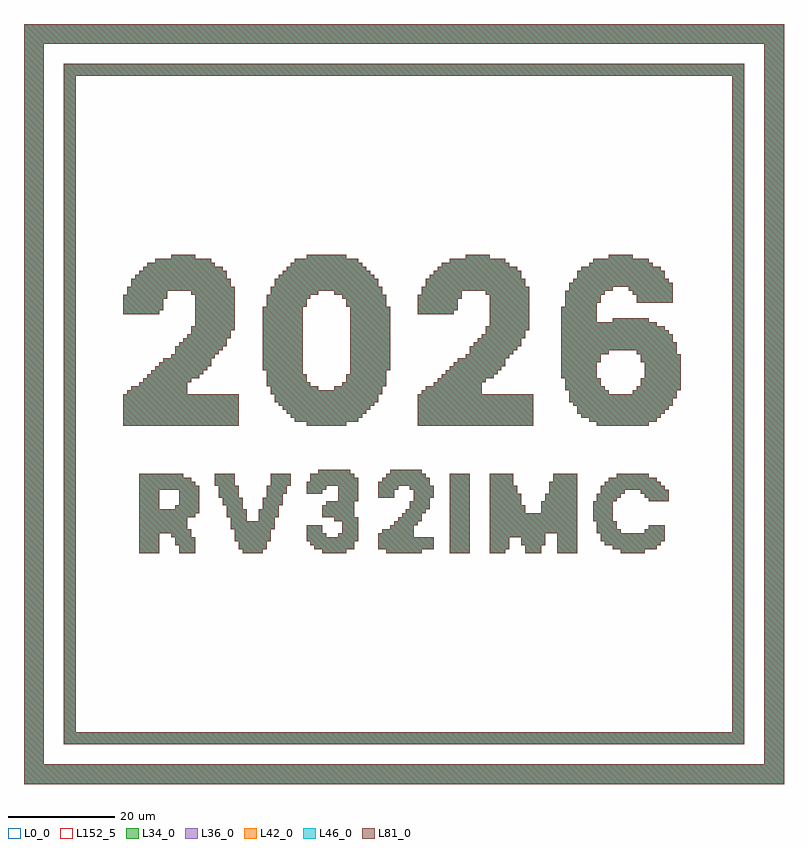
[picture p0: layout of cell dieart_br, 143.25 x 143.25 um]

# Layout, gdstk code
import gdstk
lib = gdstk.Library(unit=1e-6, precision=1e-09)
def R(c, l, rs):  # rectangles x0, y0, x1, y1
    for r in rs: c.add(gdstk.rectangle(r[:2], r[2:], *l))
def A(c, l, x, y, w, h, nx, ny, dx, dy):  # array of equal rectangles
    R(c, l, [(x+i*dx, y+j*dy, x+i*dx+w, y+j*dy+h) for i in range(nx) for j in range(ny)])
L0_0 = (0, 0)
L34_0 = (34, 0)
L36_0 = (36, 0)
L42_0 = (42, 0)
L46_0 = (46, 0)
L81_0 = (81, 0)
L152_5 = (152, 5)

dieart_br = lib.new_cell('dieart_br')
R(dieart_br, L0_0, [(0,0,143.25,143.25)])
A(dieart_br, L34_0, 45.75, 91.5, 8.25, 0.75, 3, 1, 14.25, 0)
R(dieart_br, L34_0, [(0,0,143.25,3.75), (0,3.75,3.75,139.5), (139.5,3.75,143.25,139.5), (7.5,7.5,135.75,9.75), (7.5,9.75,9.75,133.5), (133.5,9.75,135.75,133.5), (21.75,43.5,25.5,47.25), (29.25,43.5,32.25,45), (41.25,43.5,45,44.25), (56.25,43.5,60.75,44.25), (68.25,43.5,75,44.25), (80.25,43.5,84,58.5), (87.75,43.5,90.75,44.25), (94.5,43.5,97.5,45), (100.5,43.5,104.25,47.25), (112.5,43.5,117,44.25), (40.5,44.25,45.75,45.75), (54.75,44.25,62.25,45), (66.75,44.25,77.25,46.5), (87.75,44.25,91.5,46.5), (111,44.25,119.25,45), (28.5,45,32.25,46.5), (54,45,62.25,45.75), (93.75,45,98.25,46.5), (109.5,45,120,45.75), (39.75,45.75,46.5,48), (53.25,45.75,63,46.5), (108.75,45.75,120.75,47.25), (27.75,46.5,31.5,47.25), (53.25,46.5,57,47.25), (59.25,46.5,63,47.25), (66.75,46.5,73.5,47.25), (87.75,46.5,98.25,47.25), (21.75,47.25,31.5,48), (53.25,47.25,56.25,48.75), (60,47.25,63,49.5), (67.5,47.25,73.5,48), (87.75,47.25,104.25,51), (108,47.25,112.5,48), (117,47.25,120.75,48), (21.75,48,30.75,50.25), (39,48,47.25,49.5), (69,48,73.5,48.75), (108,48,111.75,49.5), (117.75,48,120.75,48.75), (69.75,48.75,74.25,49.5), (39,49.5,42,50.25), (44.25,49.5,47.25,50.25), (58.5,49.5,63,50.25), (70.5,49.5,75,50.25), (107.25,49.5,111,53.25), (21.75,50.25,32.25,51), (38.25,50.25,42,51.75), (44.25,50.25,48,51.75), (56.25,50.25,62.25,52.5), (71.25,50.25,75,51), (21.75,51,33,51.75), (72,51,75.75,51.75), (87.75,51,94.5,52.5), (97.5,51,104.25,53.25), (21.75,51.75,25.5,55.5), (28.5,51.75,33,52.5), (38.25,51.75,41.25,52.5), (45,51.75,48,52.5), (72.75,51.75,76.5,53.25), (29.25,52.5,33,55.5), (37.5,52.5,41.25,54), (45,52.5,48.75,54), (57,52.5,62.25,53.25), (87.75,52.5,93.75,54.75), (59.25,53.25,63,56.25), (73.5,53.25,76.5,54), (98.25,53.25,104.25,54.75), (108,53.25,111.75,54), (117.75,53.25,121.5,54), (36.75,54,40.5,56.25), (45.75,54,48.75,54.75), (66.75,54,69.75,55.5), (73.5,54,77.25,55.5), (108,54,112.5,54.75), (117,54,121.5,54.75), (45.75,54.75,49.5,56.25), (53.25,54.75,56.25,55.5), (87.75,54.75,93,56.25), (99,54.75,104.25,57), (108.75,54.75,113.25,55.5), (116.25,54.75,121.5,55.5), (21.75,55.5,33,56.25), (53.25,55.5,57,56.25), (66.75,55.5,70.5,56.25), (72.75,55.5,77.25,56.25), (108.75,55.5,120.75,56.25), (21.75,56.25,32.25,57), (36,56.25,39.75,58.5), (46.5,56.25,50.25,58.5), (53.25,56.25,63,57), (66.75,56.25,76.5,57), (87.75,56.25,92.25,58.5), (109.5,56.25,120,57), (21.75,57,31.5,57.75), (54,57,63,57.75), (67.5,57,76.5,57.75), (99.75,57,104.25,58.5), (110.25,57,119.25,57.75), (21.75,57.75,30,58.5), (54,57.75,62.25,58.5), (68.25,57.75,75.75,58.5), (111.75,57.75,117.75,58.5), (55.5,58.5,61.5,59.25), (69,58.5,75,59.25), (18.75,67.5,40.5,73.5), (53.25,67.5,60.75,68.25), (74.25,67.5,96,73.5), (108,67.5,117.75,68.25), (51,68.25,63,69), (106.5,68.25,119.25,69), (50.25,69,63.75,69.75), (105,69,120,69.75), (49.5,69.75,64.5,70.5), (104.25,69.75,120.75,70.5), (48.75,70.5,65.25,71.25), (104.25,70.5,121.5,71.25), (48,71.25,66,72), (103.5,71.25,122.25,72), (47.25,72,66.75,73.5), (102.75,72,122.25,72.75), (102.75,72.75,123,73.5), (19.5,73.5,30.75,74.25), (46.5,73.5,67.5,74.25), (75,73.5,86.25,74.25), (102.75,73.5,110.25,74.25), (114.75,73.5,123,74.25), (20.25,74.25,30.75,75), (46.5,74.25,55.5,75), (58.5,74.25,67.5,75), (75.75,74.25,86.25,75), (102,74.25,109.5,75), (115.5,74.25,123.75,75), (21.75,75,30.75,75.75), (45.75,75,54,75.75), (60,75,68.25,75.75), (77.25,75,86.25,75.75), (102,75,108.75,76.5), (116.25,75,123.75,76.5), (22.5,75.75,31.5,76.5), (45.75,75.75,53.25,77.25), (60.75,75.75,68.25,77.25), (78,75.75,87,76.5), (23.25,76.5,33,77.25), (78.75,76.5,88.5,77.25), (101.25,76.5,108,79.5), (117,76.5,123.75,79.5), (24,77.25,33.75,78), (45.75,77.25,52.5,78), (61.5,77.25,68.25,78), (79.5,77.25,89.25,78), (24.75,78,34.5,78.75), (45,78,52.5,90), (61.5,78,69,90), (80.25,78,90,78.75), (25.5,78.75,35.25,79.5), (81,78.75,90.75,79.5), (26.25,79.5,35.25,80.25), (81.75,79.5,90.75,80.25), (101.25,79.5,108.75,81), (116.25,79.5,123.75,81), (27.75,80.25,36,81), (83.25,80.25,91.5,81), (28.5,81,36.75,81.75), (84,81,92.25,81.75), (101.25,81,110.25,81.75), (115.5,81,123,81.75), (28.5,81.75,37.5,82.5), (84,81.75,93,82.5), (101.25,81.75,123,83.25), (29.25,82.5,38.25,83.25), (84.75,82.5,93.75,83.25), (30,83.25,38.25,84), (85.5,83.25,93.75,84), (101.25,83.25,122.25,84.75), (30.75,84,39,84.75), (86.25,84,94.5,84.75), (31.5,84.75,39,85.5), (87,84.75,94.5,85.5), (101.25,84.75,121.5,85.5), (31.5,85.5,39.75,86.25), (87,85.5,95.25,86.25), (101.25,85.5,120.75,86.25), (32.25,86.25,39.75,92.25), (87.75,86.25,95.25,92.25), (101.25,86.25,119.25,87), (101.25,87,108,90), (111,87,117.75,87.75), (18.75,88.5,25.5,89.25), (74.25,88.5,81,89.25), (18.75,89.25,26.25,91.5), (74.25,89.25,81.75,91.5), (45.75,90,53.25,91.5), (60.75,90,68.25,91.5), (102,90,108,90.75), (102,90.75,108.75,92.25), (115.5,90.75,122.25,92.25), (18.75,91.5,27,92.25), (19.5,92.25,27,93), (31.5,92.25,39.75,93), (46.5,92.25,55.5,93), (58.5,92.25,67.5,93), (75,92.25,82.5,93), (87,92.25,95.25,93), (102,92.25,109.5,93), (114.75,92.25,122.25,93), (19.5,93,39.75,93.75), (46.5,93,67.5,93.75), (75,93,95.25,93.75), (102.75,93,111,93.75), (114,93,122.25,93.75), (20.25,93.75,39,95.25), (47.25,93.75,66.75,95.25), (75.75,93.75,94.5,95.25), (102.75,93.75,122.25,94.5), (103.5,94.5,121.5,95.25), (21,95.25,38.25,96), (48,95.25,66,96), (76.5,95.25,93.75,96), (104.25,95.25,120.75,96.75), (21.75,96,38.25,96.75), (48.75,96,65.25,96.75), (77.25,96,93.75,96.75), (22.5,96.75,37.5,97.5), (49.5,96.75,64.5,97.5), (78,96.75,93,97.5), (105,96.75,120,97.5), (23.25,97.5,36,98.25), (50.25,97.5,63.75,98.25), (78.75,97.5,91.5,98.25), (106.5,97.5,118.5,98.25), (24.75,98.25,35.25,99), (51,98.25,63,99), (80.25,98.25,90.75,99), (107.25,98.25,117.75,99), (27.75,99,32.25,99.75), (53.25,99,60.75,99.75), (83.25,99,87.75,99.75), (110.25,99,114.75,99.75), (7.5,133.5,135.75,135.75), (0,139.5,143.25,143.25)])
A(dieart_br, L36_0, 45.75, 91.5, 8.25, 0.75, 3, 1, 14.25, 0)
R(dieart_br, L36_0, [(0,0,143.25,3.75), (0,3.75,3.75,139.5), (139.5,3.75,143.25,139.5), (7.5,7.5,135.75,9.75), (7.5,9.75,9.75,133.5), (133.5,9.75,135.75,133.5), (21.75,43.5,25.5,47.25), (29.25,43.5,32.25,45), (41.25,43.5,45,44.25), (56.25,43.5,60.75,44.25), (68.25,43.5,75,44.25), (80.25,43.5,84,58.5), (87.75,43.5,90.75,44.25), (94.5,43.5,97.5,45), (100.5,43.5,104.25,47.25), (112.5,43.5,117,44.25), (40.5,44.25,45.75,45.75), (54.75,44.25,62.25,45), (66.75,44.25,77.25,46.5), (87.75,44.25,91.5,46.5), (111,44.25,119.25,45), (28.5,45,32.25,46.5), (54,45,62.25,45.75), (93.75,45,98.25,46.5), (109.5,45,120,45.75), (39.75,45.75,46.5,48), (53.25,45.75,63,46.5), (108.75,45.75,120.75,47.25), (27.75,46.5,31.5,47.25), (53.25,46.5,57,47.25), (59.25,46.5,63,47.25), (66.75,46.5,73.5,47.25), (87.75,46.5,98.25,47.25), (21.75,47.25,31.5,48), (53.25,47.25,56.25,48.75), (60,47.25,63,49.5), (67.5,47.25,73.5,48), (87.75,47.25,104.25,51), (108,47.25,112.5,48), (117,47.25,120.75,48), (21.75,48,30.75,50.25), (39,48,47.25,49.5), (69,48,73.5,48.75), (108,48,111.75,49.5), (117.75,48,120.75,48.75), (69.75,48.75,74.25,49.5), (39,49.5,42,50.25), (44.25,49.5,47.25,50.25), (58.5,49.5,63,50.25), (70.5,49.5,75,50.25), (107.25,49.5,111,53.25), (21.75,50.25,32.25,51), (38.25,50.25,42,51.75), (44.25,50.25,48,51.75), (56.25,50.25,62.25,52.5), (71.25,50.25,75,51), (21.75,51,33,51.75), (72,51,75.75,51.75), (87.75,51,94.5,52.5), (97.5,51,104.25,53.25), (21.75,51.75,25.5,55.5), (28.5,51.75,33,52.5), (38.25,51.75,41.25,52.5), (45,51.75,48,52.5), (72.75,51.75,76.5,53.25), (29.25,52.5,33,55.5), (37.5,52.5,41.25,54), (45,52.5,48.75,54), (57,52.5,62.25,53.25), (87.75,52.5,93.75,54.75), (59.25,53.25,63,56.25), (73.5,53.25,76.5,54), (98.25,53.25,104.25,54.75), (108,53.25,111.75,54), (117.75,53.25,121.5,54), (36.75,54,40.5,56.25), (45.75,54,48.75,54.75), (66.75,54,69.75,55.5), (73.5,54,77.25,55.5), (108,54,112.5,54.75), (117,54,121.5,54.75), (45.75,54.75,49.5,56.25), (53.25,54.75,56.25,55.5), (87.75,54.75,93,56.25), (99,54.75,104.25,57), (108.75,54.75,113.25,55.5), (116.25,54.75,121.5,55.5), (21.75,55.5,33,56.25), (53.25,55.5,57,56.25), (66.75,55.5,70.5,56.25), (72.75,55.5,77.25,56.25), (108.75,55.5,120.75,56.25), (21.75,56.25,32.25,57), (36,56.25,39.75,58.5), (46.5,56.25,50.25,58.5), (53.25,56.25,63,57), (66.75,56.25,76.5,57), (87.75,56.25,92.25,58.5), (109.5,56.25,120,57), (21.75,57,31.5,57.75), (54,57,63,57.75), (67.5,57,76.5,57.75), (99.75,57,104.25,58.5), (110.25,57,119.25,57.75), (21.75,57.75,30,58.5), (54,57.75,62.25,58.5), (68.25,57.75,75.75,58.5), (111.75,57.75,117.75,58.5), (55.5,58.5,61.5,59.25), (69,58.5,75,59.25), (18.75,67.5,40.5,73.5), (53.25,67.5,60.75,68.25), (74.25,67.5,96,73.5), (108,67.5,117.75,68.25), (51,68.25,63,69), (106.5,68.25,119.25,69), (50.25,69,63.75,69.75), (105,69,120,69.75), (49.5,69.75,64.5,70.5), (104.25,69.75,120.75,70.5), (48.75,70.5,65.25,71.25), (104.25,70.5,121.5,71.25), (48,71.25,66,72), (103.5,71.25,122.25,72), (47.25,72,66.75,73.5), (102.75,72,122.25,72.75), (102.75,72.75,123,73.5), (19.5,73.5,30.75,74.25), (46.5,73.5,67.5,74.25), (75,73.5,86.25,74.25), (102.75,73.5,110.25,74.25), (114.75,73.5,123,74.25), (20.25,74.25,30.75,75), (46.5,74.25,55.5,75), (58.5,74.25,67.5,75), (75.75,74.25,86.25,75), (102,74.25,109.5,75), (115.5,74.25,123.75,75), (21.75,75,30.75,75.75), (45.75,75,54,75.75), (60,75,68.25,75.75), (77.25,75,86.25,75.75), (102,75,108.75,76.5), (116.25,75,123.75,76.5), (22.5,75.75,31.5,76.5), (45.75,75.75,53.25,77.25), (60.75,75.75,68.25,77.25), (78,75.75,87,76.5), (23.25,76.5,33,77.25), (78.75,76.5,88.5,77.25), (101.25,76.5,108,79.5), (117,76.5,123.75,79.5), (24,77.25,33.75,78), (45.75,77.25,52.5,78), (61.5,77.25,68.25,78), (79.5,77.25,89.25,78), (24.75,78,34.5,78.75), (45,78,52.5,90), (61.5,78,69,90), (80.25,78,90,78.75), (25.5,78.75,35.25,79.5), (81,78.75,90.75,79.5), (26.25,79.5,35.25,80.25), (81.75,79.5,90.75,80.25), (101.25,79.5,108.75,81), (116.25,79.5,123.75,81), (27.75,80.25,36,81), (83.25,80.25,91.5,81), (28.5,81,36.75,81.75), (84,81,92.25,81.75), (101.25,81,110.25,81.75), (115.5,81,123,81.75), (28.5,81.75,37.5,82.5), (84,81.75,93,82.5), (101.25,81.75,123,83.25), (29.25,82.5,38.25,83.25), (84.75,82.5,93.75,83.25), (30,83.25,38.25,84), (85.5,83.25,93.75,84), (101.25,83.25,122.25,84.75), (30.75,84,39,84.75), (86.25,84,94.5,84.75), (31.5,84.75,39,85.5), (87,84.75,94.5,85.5), (101.25,84.75,121.5,85.5), (31.5,85.5,39.75,86.25), (87,85.5,95.25,86.25), (101.25,85.5,120.75,86.25), (32.25,86.25,39.75,92.25), (87.75,86.25,95.25,92.25), (101.25,86.25,119.25,87), (101.25,87,108,90), (111,87,117.75,87.75), (18.75,88.5,25.5,89.25), (74.25,88.5,81,89.25), (18.75,89.25,26.25,91.5), (74.25,89.25,81.75,91.5), (45.75,90,53.25,91.5), (60.75,90,68.25,91.5), (102,90,108,90.75), (102,90.75,108.75,92.25), (115.5,90.75,122.25,92.25), (18.75,91.5,27,92.25), (19.5,92.25,27,93), (31.5,92.25,39.75,93), (46.5,92.25,55.5,93), (58.5,92.25,67.5,93), (75,92.25,82.5,93), (87,92.25,95.25,93), (102,92.25,109.5,93), (114.75,92.25,122.25,93), (19.5,93,39.75,93.75), (46.5,93,67.5,93.75), (75,93,95.25,93.75), (102.75,93,111,93.75), (114,93,122.25,93.75), (20.25,93.75,39,95.25), (47.25,93.75,66.75,95.25), (75.75,93.75,94.5,95.25), (102.75,93.75,122.25,94.5), (103.5,94.5,121.5,95.25), (21,95.25,38.25,96), (48,95.25,66,96), (76.5,95.25,93.75,96), (104.25,95.25,120.75,96.75), (21.75,96,38.25,96.75), (48.75,96,65.25,96.75), (77.25,96,93.75,96.75), (22.5,96.75,37.5,97.5), (49.5,96.75,64.5,97.5), (78,96.75,93,97.5), (105,96.75,120,97.5), (23.25,97.5,36,98.25), (50.25,97.5,63.75,98.25), (78.75,97.5,91.5,98.25), (106.5,97.5,118.5,98.25), (24.75,98.25,35.25,99), (51,98.25,63,99), (80.25,98.25,90.75,99), (107.25,98.25,117.75,99), (27.75,99,32.25,99.75), (53.25,99,60.75,99.75), (83.25,99,87.75,99.75), (110.25,99,114.75,99.75), (7.5,133.5,135.75,135.75), (0,139.5,143.25,143.25)])
A(dieart_br, L42_0, 45.75, 91.5, 8.25, 0.75, 3, 1, 14.25, 0)
R(dieart_br, L42_0, [(0,0,143.25,3.75), (0,3.75,3.75,139.5), (139.5,3.75,143.25,139.5), (7.5,7.5,135.75,9.75), (7.5,9.75,9.75,133.5), (133.5,9.75,135.75,133.5), (21.75,43.5,25.5,47.25), (29.25,43.5,32.25,45), (41.25,43.5,45,44.25), (56.25,43.5,60.75,44.25), (68.25,43.5,75,44.25), (80.25,43.5,84,58.5), (87.75,43.5,90.75,44.25), (94.5,43.5,97.5,45), (100.5,43.5,104.25,47.25), (112.5,43.5,117,44.25), (40.5,44.25,45.75,45.75), (54.75,44.25,62.25,45), (66.75,44.25,77.25,46.5), (87.75,44.25,91.5,46.5), (111,44.25,119.25,45), (28.5,45,32.25,46.5), (54,45,62.25,45.75), (93.75,45,98.25,46.5), (109.5,45,120,45.75), (39.75,45.75,46.5,48), (53.25,45.75,63,46.5), (108.75,45.75,120.75,47.25), (27.75,46.5,31.5,47.25), (53.25,46.5,57,47.25), (59.25,46.5,63,47.25), (66.75,46.5,73.5,47.25), (87.75,46.5,98.25,47.25), (21.75,47.25,31.5,48), (53.25,47.25,56.25,48.75), (60,47.25,63,49.5), (67.5,47.25,73.5,48), (87.75,47.25,104.25,51), (108,47.25,112.5,48), (117,47.25,120.75,48), (21.75,48,30.75,50.25), (39,48,47.25,49.5), (69,48,73.5,48.75), (108,48,111.75,49.5), (117.75,48,120.75,48.75), (69.75,48.75,74.25,49.5), (39,49.5,42,50.25), (44.25,49.5,47.25,50.25), (58.5,49.5,63,50.25), (70.5,49.5,75,50.25), (107.25,49.5,111,53.25), (21.75,50.25,32.25,51), (38.25,50.25,42,51.75), (44.25,50.25,48,51.75), (56.25,50.25,62.25,52.5), (71.25,50.25,75,51), (21.75,51,33,51.75), (72,51,75.75,51.75), (87.75,51,94.5,52.5), (97.5,51,104.25,53.25), (21.75,51.75,25.5,55.5), (28.5,51.75,33,52.5), (38.25,51.75,41.25,52.5), (45,51.75,48,52.5), (72.75,51.75,76.5,53.25), (29.25,52.5,33,55.5), (37.5,52.5,41.25,54), (45,52.5,48.75,54), (57,52.5,62.25,53.25), (87.75,52.5,93.75,54.75), (59.25,53.25,63,56.25), (73.5,53.25,76.5,54), (98.25,53.25,104.25,54.75), (108,53.25,111.75,54), (117.75,53.25,121.5,54), (36.75,54,40.5,56.25), (45.75,54,48.75,54.75), (66.75,54,69.75,55.5), (73.5,54,77.25,55.5), (108,54,112.5,54.75), (117,54,121.5,54.75), (45.75,54.75,49.5,56.25), (53.25,54.75,56.25,55.5), (87.75,54.75,93,56.25), (99,54.75,104.25,57), (108.75,54.75,113.25,55.5), (116.25,54.75,121.5,55.5), (21.75,55.5,33,56.25), (53.25,55.5,57,56.25), (66.75,55.5,70.5,56.25), (72.75,55.5,77.25,56.25), (108.75,55.5,120.75,56.25), (21.75,56.25,32.25,57), (36,56.25,39.75,58.5), (46.5,56.25,50.25,58.5), (53.25,56.25,63,57), (66.75,56.25,76.5,57), (87.75,56.25,92.25,58.5), (109.5,56.25,120,57), (21.75,57,31.5,57.75), (54,57,63,57.75), (67.5,57,76.5,57.75), (99.75,57,104.25,58.5), (110.25,57,119.25,57.75), (21.75,57.75,30,58.5), (54,57.75,62.25,58.5), (68.25,57.75,75.75,58.5), (111.75,57.75,117.75,58.5), (55.5,58.5,61.5,59.25), (69,58.5,75,59.25), (18.75,67.5,40.5,73.5), (53.25,67.5,60.75,68.25), (74.25,67.5,96,73.5), (108,67.5,117.75,68.25), (51,68.25,63,69), (106.5,68.25,119.25,69), (50.25,69,63.75,69.75), (105,69,120,69.75), (49.5,69.75,64.5,70.5), (104.25,69.75,120.75,70.5), (48.75,70.5,65.25,71.25), (104.25,70.5,121.5,71.25), (48,71.25,66,72), (103.5,71.25,122.25,72), (47.25,72,66.75,73.5), (102.75,72,122.25,72.75), (102.75,72.75,123,73.5), (19.5,73.5,30.75,74.25), (46.5,73.5,67.5,74.25), (75,73.5,86.25,74.25), (102.75,73.5,110.25,74.25), (114.75,73.5,123,74.25), (20.25,74.25,30.75,75), (46.5,74.25,55.5,75), (58.5,74.25,67.5,75), (75.75,74.25,86.25,75), (102,74.25,109.5,75), (115.5,74.25,123.75,75), (21.75,75,30.75,75.75), (45.75,75,54,75.75), (60,75,68.25,75.75), (77.25,75,86.25,75.75), (102,75,108.75,76.5), (116.25,75,123.75,76.5), (22.5,75.75,31.5,76.5), (45.75,75.75,53.25,77.25), (60.75,75.75,68.25,77.25), (78,75.75,87,76.5), (23.25,76.5,33,77.25), (78.75,76.5,88.5,77.25), (101.25,76.5,108,79.5), (117,76.5,123.75,79.5), (24,77.25,33.75,78), (45.75,77.25,52.5,78), (61.5,77.25,68.25,78), (79.5,77.25,89.25,78), (24.75,78,34.5,78.75), (45,78,52.5,90), (61.5,78,69,90), (80.25,78,90,78.75), (25.5,78.75,35.25,79.5), (81,78.75,90.75,79.5), (26.25,79.5,35.25,80.25), (81.75,79.5,90.75,80.25), (101.25,79.5,108.75,81), (116.25,79.5,123.75,81), (27.75,80.25,36,81), (83.25,80.25,91.5,81), (28.5,81,36.75,81.75), (84,81,92.25,81.75), (101.25,81,110.25,81.75), (115.5,81,123,81.75), (28.5,81.75,37.5,82.5), (84,81.75,93,82.5), (101.25,81.75,123,83.25), (29.25,82.5,38.25,83.25), (84.75,82.5,93.75,83.25), (30,83.25,38.25,84), (85.5,83.25,93.75,84), (101.25,83.25,122.25,84.75), (30.75,84,39,84.75), (86.25,84,94.5,84.75), (31.5,84.75,39,85.5), (87,84.75,94.5,85.5), (101.25,84.75,121.5,85.5), (31.5,85.5,39.75,86.25), (87,85.5,95.25,86.25), (101.25,85.5,120.75,86.25), (32.25,86.25,39.75,92.25), (87.75,86.25,95.25,92.25), (101.25,86.25,119.25,87), (101.25,87,108,90), (111,87,117.75,87.75), (18.75,88.5,25.5,89.25), (74.25,88.5,81,89.25), (18.75,89.25,26.25,91.5), (74.25,89.25,81.75,91.5), (45.75,90,53.25,91.5), (60.75,90,68.25,91.5), (102,90,108,90.75), (102,90.75,108.75,92.25), (115.5,90.75,122.25,92.25), (18.75,91.5,27,92.25), (19.5,92.25,27,93), (31.5,92.25,39.75,93), (46.5,92.25,55.5,93), (58.5,92.25,67.5,93), (75,92.25,82.5,93), (87,92.25,95.25,93), (102,92.25,109.5,93), (114.75,92.25,122.25,93), (19.5,93,39.75,93.75), (46.5,93,67.5,93.75), (75,93,95.25,93.75), (102.75,93,111,93.75), (114,93,122.25,93.75), (20.25,93.75,39,95.25), (47.25,93.75,66.75,95.25), (75.75,93.75,94.5,95.25), (102.75,93.75,122.25,94.5), (103.5,94.5,121.5,95.25), (21,95.25,38.25,96), (48,95.25,66,96), (76.5,95.25,93.75,96), (104.25,95.25,120.75,96.75), (21.75,96,38.25,96.75), (48.75,96,65.25,96.75), (77.25,96,93.75,96.75), (22.5,96.75,37.5,97.5), (49.5,96.75,64.5,97.5), (78,96.75,93,97.5), (105,96.75,120,97.5), (23.25,97.5,36,98.25), (50.25,97.5,63.75,98.25), (78.75,97.5,91.5,98.25), (106.5,97.5,118.5,98.25), (24.75,98.25,35.25,99), (51,98.25,63,99), (80.25,98.25,90.75,99), (107.25,98.25,117.75,99), (27.75,99,32.25,99.75), (53.25,99,60.75,99.75), (83.25,99,87.75,99.75), (110.25,99,114.75,99.75), (7.5,133.5,135.75,135.75), (0,139.5,143.25,143.25)])
A(dieart_br, L46_0, 45.75, 91.5, 8.25, 0.75, 3, 1, 14.25, 0)
R(dieart_br, L46_0, [(0,0,143.25,3.75), (0,3.75,3.75,139.5), (139.5,3.75,143.25,139.5), (7.5,7.5,135.75,9.75), (7.5,9.75,9.75,133.5), (133.5,9.75,135.75,133.5), (21.75,43.5,25.5,47.25), (29.25,43.5,32.25,45), (41.25,43.5,45,44.25), (56.25,43.5,60.75,44.25), (68.25,43.5,75,44.25), (80.25,43.5,84,58.5), (87.75,43.5,90.75,44.25), (94.5,43.5,97.5,45), (100.5,43.5,104.25,47.25), (112.5,43.5,117,44.25), (40.5,44.25,45.75,45.75), (54.75,44.25,62.25,45), (66.75,44.25,77.25,46.5), (87.75,44.25,91.5,46.5), (111,44.25,119.25,45), (28.5,45,32.25,46.5), (54,45,62.25,45.75), (93.75,45,98.25,46.5), (109.5,45,120,45.75), (39.75,45.75,46.5,48), (53.25,45.75,63,46.5), (108.75,45.75,120.75,47.25), (27.75,46.5,31.5,47.25), (53.25,46.5,57,47.25), (59.25,46.5,63,47.25), (66.75,46.5,73.5,47.25), (87.75,46.5,98.25,47.25), (21.75,47.25,31.5,48), (53.25,47.25,56.25,48.75), (60,47.25,63,49.5), (67.5,47.25,73.5,48), (87.75,47.25,104.25,51), (108,47.25,112.5,48), (117,47.25,120.75,48), (21.75,48,30.75,50.25), (39,48,47.25,49.5), (69,48,73.5,48.75), (108,48,111.75,49.5), (117.75,48,120.75,48.75), (69.75,48.75,74.25,49.5), (39,49.5,42,50.25), (44.25,49.5,47.25,50.25), (58.5,49.5,63,50.25), (70.5,49.5,75,50.25), (107.25,49.5,111,53.25), (21.75,50.25,32.25,51), (38.25,50.25,42,51.75), (44.25,50.25,48,51.75), (56.25,50.25,62.25,52.5), (71.25,50.25,75,51), (21.75,51,33,51.75), (72,51,75.75,51.75), (87.75,51,94.5,52.5), (97.5,51,104.25,53.25), (21.75,51.75,25.5,55.5), (28.5,51.75,33,52.5), (38.25,51.75,41.25,52.5), (45,51.75,48,52.5), (72.75,51.75,76.5,53.25), (29.25,52.5,33,55.5), (37.5,52.5,41.25,54), (45,52.5,48.75,54), (57,52.5,62.25,53.25), (87.75,52.5,93.75,54.75), (59.25,53.25,63,56.25), (73.5,53.25,76.5,54), (98.25,53.25,104.25,54.75), (108,53.25,111.75,54), (117.75,53.25,121.5,54), (36.75,54,40.5,56.25), (45.75,54,48.75,54.75), (66.75,54,69.75,55.5), (73.5,54,77.25,55.5), (108,54,112.5,54.75), (117,54,121.5,54.75), (45.75,54.75,49.5,56.25), (53.25,54.75,56.25,55.5), (87.75,54.75,93,56.25), (99,54.75,104.25,57), (108.75,54.75,113.25,55.5), (116.25,54.75,121.5,55.5), (21.75,55.5,33,56.25), (53.25,55.5,57,56.25), (66.75,55.5,70.5,56.25), (72.75,55.5,77.25,56.25), (108.75,55.5,120.75,56.25), (21.75,56.25,32.25,57), (36,56.25,39.75,58.5), (46.5,56.25,50.25,58.5), (53.25,56.25,63,57), (66.75,56.25,76.5,57), (87.75,56.25,92.25,58.5), (109.5,56.25,120,57), (21.75,57,31.5,57.75), (54,57,63,57.75), (67.5,57,76.5,57.75), (99.75,57,104.25,58.5), (110.25,57,119.25,57.75), (21.75,57.75,30,58.5), (54,57.75,62.25,58.5), (68.25,57.75,75.75,58.5), (111.75,57.75,117.75,58.5), (55.5,58.5,61.5,59.25), (69,58.5,75,59.25), (18.75,67.5,40.5,73.5), (53.25,67.5,60.75,68.25), (74.25,67.5,96,73.5), (108,67.5,117.75,68.25), (51,68.25,63,69), (106.5,68.25,119.25,69), (50.25,69,63.75,69.75), (105,69,120,69.75), (49.5,69.75,64.5,70.5), (104.25,69.75,120.75,70.5), (48.75,70.5,65.25,71.25), (104.25,70.5,121.5,71.25), (48,71.25,66,72), (103.5,71.25,122.25,72), (47.25,72,66.75,73.5), (102.75,72,122.25,72.75), (102.75,72.75,123,73.5), (19.5,73.5,30.75,74.25), (46.5,73.5,67.5,74.25), (75,73.5,86.25,74.25), (102.75,73.5,110.25,74.25), (114.75,73.5,123,74.25), (20.25,74.25,30.75,75), (46.5,74.25,55.5,75), (58.5,74.25,67.5,75), (75.75,74.25,86.25,75), (102,74.25,109.5,75), (115.5,74.25,123.75,75), (21.75,75,30.75,75.75), (45.75,75,54,75.75), (60,75,68.25,75.75), (77.25,75,86.25,75.75), (102,75,108.75,76.5), (116.25,75,123.75,76.5), (22.5,75.75,31.5,76.5), (45.75,75.75,53.25,77.25), (60.75,75.75,68.25,77.25), (78,75.75,87,76.5), (23.25,76.5,33,77.25), (78.75,76.5,88.5,77.25), (101.25,76.5,108,79.5), (117,76.5,123.75,79.5), (24,77.25,33.75,78), (45.75,77.25,52.5,78), (61.5,77.25,68.25,78), (79.5,77.25,89.25,78), (24.75,78,34.5,78.75), (45,78,52.5,90), (61.5,78,69,90), (80.25,78,90,78.75), (25.5,78.75,35.25,79.5), (81,78.75,90.75,79.5), (26.25,79.5,35.25,80.25), (81.75,79.5,90.75,80.25), (101.25,79.5,108.75,81), (116.25,79.5,123.75,81), (27.75,80.25,36,81), (83.25,80.25,91.5,81), (28.5,81,36.75,81.75), (84,81,92.25,81.75), (101.25,81,110.25,81.75), (115.5,81,123,81.75), (28.5,81.75,37.5,82.5), (84,81.75,93,82.5), (101.25,81.75,123,83.25), (29.25,82.5,38.25,83.25), (84.75,82.5,93.75,83.25), (30,83.25,38.25,84), (85.5,83.25,93.75,84), (101.25,83.25,122.25,84.75), (30.75,84,39,84.75), (86.25,84,94.5,84.75), (31.5,84.75,39,85.5), (87,84.75,94.5,85.5), (101.25,84.75,121.5,85.5), (31.5,85.5,39.75,86.25), (87,85.5,95.25,86.25), (101.25,85.5,120.75,86.25), (32.25,86.25,39.75,92.25), (87.75,86.25,95.25,92.25), (101.25,86.25,119.25,87), (101.25,87,108,90), (111,87,117.75,87.75), (18.75,88.5,25.5,89.25), (74.25,88.5,81,89.25), (18.75,89.25,26.25,91.5), (74.25,89.25,81.75,91.5), (45.75,90,53.25,91.5), (60.75,90,68.25,91.5), (102,90,108,90.75), (102,90.75,108.75,92.25), (115.5,90.75,122.25,92.25), (18.75,91.5,27,92.25), (19.5,92.25,27,93), (31.5,92.25,39.75,93), (46.5,92.25,55.5,93), (58.5,92.25,67.5,93), (75,92.25,82.5,93), (87,92.25,95.25,93), (102,92.25,109.5,93), (114.75,92.25,122.25,93), (19.5,93,39.75,93.75), (46.5,93,67.5,93.75), (75,93,95.25,93.75), (102.75,93,111,93.75), (114,93,122.25,93.75), (20.25,93.75,39,95.25), (47.25,93.75,66.75,95.25), (75.75,93.75,94.5,95.25), (102.75,93.75,122.25,94.5), (103.5,94.5,121.5,95.25), (21,95.25,38.25,96), (48,95.25,66,96), (76.5,95.25,93.75,96), (104.25,95.25,120.75,96.75), (21.75,96,38.25,96.75), (48.75,96,65.25,96.75), (77.25,96,93.75,96.75), (22.5,96.75,37.5,97.5), (49.5,96.75,64.5,97.5), (78,96.75,93,97.5), (105,96.75,120,97.5), (23.25,97.5,36,98.25), (50.25,97.5,63.75,98.25), (78.75,97.5,91.5,98.25), (106.5,97.5,118.5,98.25), (24.75,98.25,35.25,99), (51,98.25,63,99), (80.25,98.25,90.75,99), (107.25,98.25,117.75,99), (27.75,99,32.25,99.75), (53.25,99,60.75,99.75), (83.25,99,87.75,99.75), (110.25,99,114.75,99.75), (7.5,133.5,135.75,135.75), (0,139.5,143.25,143.25)])
A(dieart_br, L81_0, 45.75, 91.5, 8.25, 0.75, 3, 1, 14.25, 0)
R(dieart_br, L81_0, [(0,0,143.25,3.75), (0,3.75,3.75,139.5), (139.5,3.75,143.25,139.5), (7.5,7.5,135.75,9.75), (7.5,9.75,9.75,133.5), (133.5,9.75,135.75,133.5), (21.75,43.5,25.5,47.25), (29.25,43.5,32.25,45), (41.25,43.5,45,44.25), (56.25,43.5,60.75,44.25), (68.25,43.5,75,44.25), (80.25,43.5,84,58.5), (87.75,43.5,90.75,44.25), (94.5,43.5,97.5,45), (100.5,43.5,104.25,47.25), (112.5,43.5,117,44.25), (40.5,44.25,45.75,45.75), (54.75,44.25,62.25,45), (66.75,44.25,77.25,46.5), (87.75,44.25,91.5,46.5), (111,44.25,119.25,45), (28.5,45,32.25,46.5), (54,45,62.25,45.75), (93.75,45,98.25,46.5), (109.5,45,120,45.75), (39.75,45.75,46.5,48), (53.25,45.75,63,46.5), (108.75,45.75,120.75,47.25), (27.75,46.5,31.5,47.25), (53.25,46.5,57,47.25), (59.25,46.5,63,47.25), (66.75,46.5,73.5,47.25), (87.75,46.5,98.25,47.25), (21.75,47.25,31.5,48), (53.25,47.25,56.25,48.75), (60,47.25,63,49.5), (67.5,47.25,73.5,48), (87.75,47.25,104.25,51), (108,47.25,112.5,48), (117,47.25,120.75,48), (21.75,48,30.75,50.25), (39,48,47.25,49.5), (69,48,73.5,48.75), (108,48,111.75,49.5), (117.75,48,120.75,48.75), (69.75,48.75,74.25,49.5), (39,49.5,42,50.25), (44.25,49.5,47.25,50.25), (58.5,49.5,63,50.25), (70.5,49.5,75,50.25), (107.25,49.5,111,53.25), (21.75,50.25,32.25,51), (38.25,50.25,42,51.75), (44.25,50.25,48,51.75), (56.25,50.25,62.25,52.5), (71.25,50.25,75,51), (21.75,51,33,51.75), (72,51,75.75,51.75), (87.75,51,94.5,52.5), (97.5,51,104.25,53.25), (21.75,51.75,25.5,55.5), (28.5,51.75,33,52.5), (38.25,51.75,41.25,52.5), (45,51.75,48,52.5), (72.75,51.75,76.5,53.25), (29.25,52.5,33,55.5), (37.5,52.5,41.25,54), (45,52.5,48.75,54), (57,52.5,62.25,53.25), (87.75,52.5,93.75,54.75), (59.25,53.25,63,56.25), (73.5,53.25,76.5,54), (98.25,53.25,104.25,54.75), (108,53.25,111.75,54), (117.75,53.25,121.5,54), (36.75,54,40.5,56.25), (45.75,54,48.75,54.75), (66.75,54,69.75,55.5), (73.5,54,77.25,55.5), (108,54,112.5,54.75), (117,54,121.5,54.75), (45.75,54.75,49.5,56.25), (53.25,54.75,56.25,55.5), (87.75,54.75,93,56.25), (99,54.75,104.25,57), (108.75,54.75,113.25,55.5), (116.25,54.75,121.5,55.5), (21.75,55.5,33,56.25), (53.25,55.5,57,56.25), (66.75,55.5,70.5,56.25), (72.75,55.5,77.25,56.25), (108.75,55.5,120.75,56.25), (21.75,56.25,32.25,57), (36,56.25,39.75,58.5), (46.5,56.25,50.25,58.5), (53.25,56.25,63,57), (66.75,56.25,76.5,57), (87.75,56.25,92.25,58.5), (109.5,56.25,120,57), (21.75,57,31.5,57.75), (54,57,63,57.75), (67.5,57,76.5,57.75), (99.75,57,104.25,58.5), (110.25,57,119.25,57.75), (21.75,57.75,30,58.5), (54,57.75,62.25,58.5), (68.25,57.75,75.75,58.5), (111.75,57.75,117.75,58.5), (55.5,58.5,61.5,59.25), (69,58.5,75,59.25), (18.75,67.5,40.5,73.5), (53.25,67.5,60.75,68.25), (74.25,67.5,96,73.5), (108,67.5,117.75,68.25), (51,68.25,63,69), (106.5,68.25,119.25,69), (50.25,69,63.75,69.75), (105,69,120,69.75), (49.5,69.75,64.5,70.5), (104.25,69.75,120.75,70.5), (48.75,70.5,65.25,71.25), (104.25,70.5,121.5,71.25), (48,71.25,66,72), (103.5,71.25,122.25,72), (47.25,72,66.75,73.5), (102.75,72,122.25,72.75), (102.75,72.75,123,73.5), (19.5,73.5,30.75,74.25), (46.5,73.5,67.5,74.25), (75,73.5,86.25,74.25), (102.75,73.5,110.25,74.25), (114.75,73.5,123,74.25), (20.25,74.25,30.75,75), (46.5,74.25,55.5,75), (58.5,74.25,67.5,75), (75.75,74.25,86.25,75), (102,74.25,109.5,75), (115.5,74.25,123.75,75), (21.75,75,30.75,75.75), (45.75,75,54,75.75), (60,75,68.25,75.75), (77.25,75,86.25,75.75), (102,75,108.75,76.5), (116.25,75,123.75,76.5), (22.5,75.75,31.5,76.5), (45.75,75.75,53.25,77.25), (60.75,75.75,68.25,77.25), (78,75.75,87,76.5), (23.25,76.5,33,77.25), (78.75,76.5,88.5,77.25), (101.25,76.5,108,79.5), (117,76.5,123.75,79.5), (24,77.25,33.75,78), (45.75,77.25,52.5,78), (61.5,77.25,68.25,78), (79.5,77.25,89.25,78), (24.75,78,34.5,78.75), (45,78,52.5,90), (61.5,78,69,90), (80.25,78,90,78.75), (25.5,78.75,35.25,79.5), (81,78.75,90.75,79.5), (26.25,79.5,35.25,80.25), (81.75,79.5,90.75,80.25), (101.25,79.5,108.75,81), (116.25,79.5,123.75,81), (27.75,80.25,36,81), (83.25,80.25,91.5,81), (28.5,81,36.75,81.75), (84,81,92.25,81.75), (101.25,81,110.25,81.75), (115.5,81,123,81.75), (28.5,81.75,37.5,82.5), (84,81.75,93,82.5), (101.25,81.75,123,83.25), (29.25,82.5,38.25,83.25), (84.75,82.5,93.75,83.25), (30,83.25,38.25,84), (85.5,83.25,93.75,84), (101.25,83.25,122.25,84.75), (30.75,84,39,84.75), (86.25,84,94.5,84.75), (31.5,84.75,39,85.5), (87,84.75,94.5,85.5), (101.25,84.75,121.5,85.5), (31.5,85.5,39.75,86.25), (87,85.5,95.25,86.25), (101.25,85.5,120.75,86.25), (32.25,86.25,39.75,92.25), (87.75,86.25,95.25,92.25), (101.25,86.25,119.25,87), (101.25,87,108,90), (111,87,117.75,87.75), (18.75,88.5,25.5,89.25), (74.25,88.5,81,89.25), (18.75,89.25,26.25,91.5), (74.25,89.25,81.75,91.5), (45.75,90,53.25,91.5), (60.75,90,68.25,91.5), (102,90,108,90.75), (102,90.75,108.75,92.25), (115.5,90.75,122.25,92.25), (18.75,91.5,27,92.25), (19.5,92.25,27,93), (31.5,92.25,39.75,93), (46.5,92.25,55.5,93), (58.5,92.25,67.5,93), (75,92.25,82.5,93), (87,92.25,95.25,93), (102,92.25,109.5,93), (114.75,92.25,122.25,93), (19.5,93,39.75,93.75), (46.5,93,67.5,93.75), (75,93,95.25,93.75), (102.75,93,111,93.75), (114,93,122.25,93.75), (20.25,93.75,39,95.25), (47.25,93.75,66.75,95.25), (75.75,93.75,94.5,95.25), (102.75,93.75,122.25,94.5), (103.5,94.5,121.5,95.25), (21,95.25,38.25,96), (48,95.25,66,96), (76.5,95.25,93.75,96), (104.25,95.25,120.75,96.75), (21.75,96,38.25,96.75), (48.75,96,65.25,96.75), (77.25,96,93.75,96.75), (22.5,96.75,37.5,97.5), (49.5,96.75,64.5,97.5), (78,96.75,93,97.5), (105,96.75,120,97.5), (23.25,97.5,36,98.25), (50.25,97.5,63.75,98.25), (78.75,97.5,91.5,98.25), (106.5,97.5,118.5,98.25), (24.75,98.25,35.25,99), (51,98.25,63,99), (80.25,98.25,90.75,99), (107.25,98.25,117.75,99), (27.75,99,32.25,99.75), (53.25,99,60.75,99.75), (83.25,99,87.75,99.75), (110.25,99,114.75,99.75), (7.5,133.5,135.75,135.75), (0,139.5,143.25,143.25)])
R(dieart_br, L152_5, [(0,0,143.25,143.25)])

lib.write_gds('dieart_br.gds')
